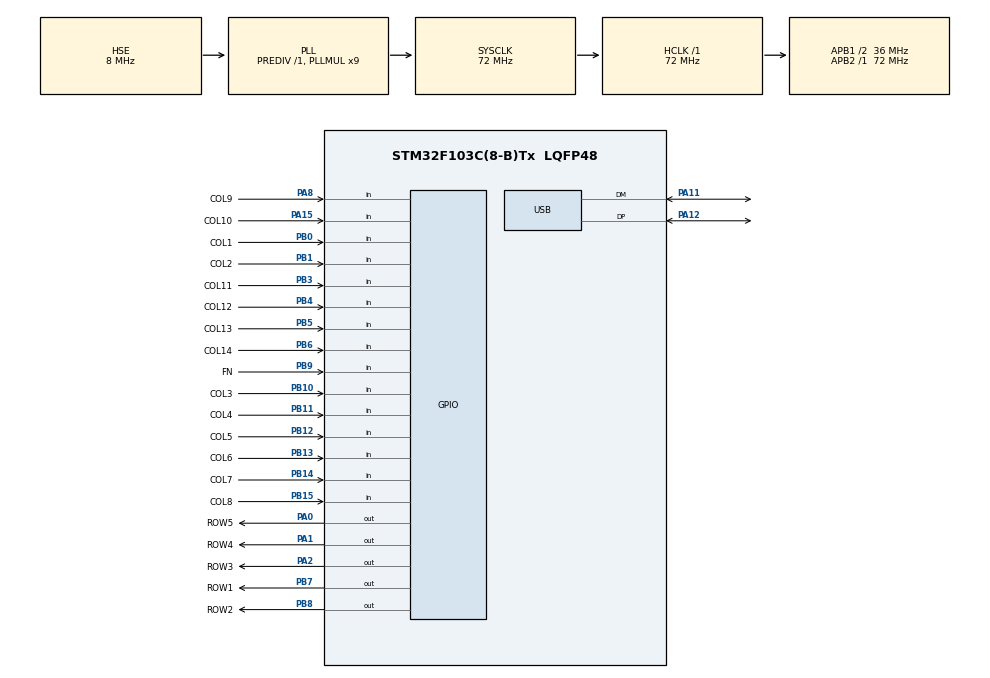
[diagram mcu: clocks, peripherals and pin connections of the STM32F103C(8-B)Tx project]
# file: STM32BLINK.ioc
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Mcu.Family=STM32F1
Mcu.Name=STM32F103C(8-B)Tx
Mcu.Package=LQFP48
NVIC.PriorityGroup=NVIC_PRIORITYGROUP_4
NVIC.USB_LP_CAN1_RX0_IRQn=true\:0\:0\:false\:false\:true\:false\:true\:true
PA0-WKUP.GPIO_Label=ROW5
PA0-WKUP.GPIO_Speed=GPIO_SPEED_FREQ_HIGH
PA0-WKUP.Signal=GPIO_Output
PA1.GPIO_Label=ROW4
PA1.GPIO_Speed=GPIO_SPEED_FREQ_HIGH
PA1.Signal=GPIO_Output
PA11.Mode=Device
PA11.Signal=USB_DM
PA12.Mode=Device
PA12.Signal=USB_DP
PA13.Mode=Serial_Wire
PA13.Signal=SYS_JTMS-SWDIO
PA14.Mode=Serial_Wire
PA14.Signal=SYS_JTCK-SWCLK
PA15.GPIO_Label=COL10
PA15.GPIO_PuPd=GPIO_PULLDOWN
PA15.Signal=GPIO_Input
PA2.GPIO_Label=ROW3
PA2.GPIO_Speed=GPIO_SPEED_FREQ_HIGH
PA2.Signal=GPIO_Output
PA8.GPIO_Label=COL9
PA8.GPIO_PuPd=GPIO_PULLDOWN
PA8.Signal=GPIO_Input
PB0.GPIO_Label=COL1
PB0.GPIO_PuPd=GPIO_PULLDOWN
PB0.Signal=GPIO_Input
PB1.GPIO_Label=COL2
PB1.GPIO_PuPd=GPIO_PULLDOWN
PB1.Signal=GPIO_Input
PB10.GPIO_Label=COL3
PB10.GPIO_PuPd=GPIO_PULLDOWN
PB10.Signal=GPIO_Input
PB11.GPIO_Label=COL4
PB11.GPIO_PuPd=GPIO_PULLDOWN
PB11.Signal=GPIO_Input
PB12.GPIO_Label=COL5
PB12.GPIO_PuPd=GPIO_PULLDOWN
PB12.Signal=GPIO_Input
PB13.GPIO_Label=COL6
PB13.GPIO_PuPd=GPIO_PULLDOWN
PB13.Signal=GPIO_Input
PB14.GPIO_Label=COL7
PB14.GPIO_PuPd=GPIO_PULLDOWN
PB14.Signal=GPIO_Input
PB15.GPIO_Label=COL8
PB15.GPIO_PuPd=GPIO_PULLDOWN
PB15.Signal=GPIO_Input
PB3.GPIO_Label=COL11
PB3.GPIO_PuPd=GPIO_PULLDOWN
PB3.Signal=GPIO_Input
PB4.GPIO_Label=COL12
PB4.GPIO_PuPd=GPIO_PULLDOWN
PB4.Signal=GPIO_Input
PB5.GPIO_Label=COL13
PB5.GPIO_PuPd=GPIO_PULLDOWN
PB5.Signal=GPIO_Input
PB6.GPIO_Label=COL14
PB6.GPIO_PuPd=GPIO_PULLDOWN
PB6.Signal=GPIO_Input
PB7.GPIO_Label=ROW1
PB7.GPIO_Speed=GPIO_SPEED_FREQ_HIGH
PB7.Signal=GPIO_Output
PB8.GPIO_Label=ROW2
PB8.GPIO_Speed=GPIO_SPEED_FREQ_HIGH
PB8.Signal=GPIO_Output
PB9.GPIO_Label=FN
PB9.GPIO_PuPd=GPIO_PULLUP
PB9.Signal=GPIO_Input
PD0-OSC_IN.Mode=HSE-External-Oscillator
PD0-OSC_IN.Signal=RCC_OSC_IN
PD1-OSC_OUT.Mode=HSE-External-Oscillator
PD1-OSC_OUT.Signal=RCC_OSC_OUT
ProjectManager.HeapSize=0x200
ProjectManager.StackSize=0x400
ProjectManager.TargetToolchain=Makefile
RCC.AHBFreq_Value=72000000
RCC.APB1CLKDivider=RCC_HCLK_DIV2
RCC.APB1Freq_Value=36000000
RCC.APB1TimFreq_Value=72000000
RCC.APB2Freq_Value=72000000
RCC.APB2TimFreq_Value=72000000
RCC.HCLKFreq_Value=72000000
RCC.PLLMUL=RCC_PLL_MUL9
RCC.PLLSourceVirtual=RCC_PLLSOURCE_HSE
RCC.SYSCLKFreq_VALUE=72000000
RCC.SYSCLKSource=RCC_SYSCLKSOURCE_PLLCLK
RCC.USBFreq_Value=48000000
RCC.USBPrescaler=RCC_USBCLKSOURCE_PLL_DIV1_5
USB_DEVICE.CLASS_NAME_FS=HID
USB_DEVICE.VirtualMode=Hid
USB_DEVICE.VirtualModeFS=Hid_FS
VP_USB_DEVICE_VS_USB_DEVICE_HID_FS.Mode=HID_FS
board=custom

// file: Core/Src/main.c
/* USER CODE BEGIN Header */
/**
 ******************************************************************************
 * @file           : main.c
 * @brief          : Main program body
 ******************************************************************************
 * @attention
 *
 * Copyright (c) 2024 STMicroelectronics.
 * All rights reserved.
 *
 * This software is licensed under terms that can be found in the LICENSE file
 * in the root directory of this software component.
 * If no LICENSE file comes with this software, it is provided AS-IS.
 *
 ******************************************************************************
 */
/* USER CODE END Header */
#include "main.h"
#include "usb_device.h"
#include "gpio.h"

/* USER CODE BEGIN Includes */
#include "usbd_hid.h"
#include "usb_key_define.h"
#include "key.h"

/* USER CODE END Includes */

/* USER CODE BEGIN PD */
#define key_number ROW_NUM *COL_NUM
/* USER CODE END PD */

void SystemClock_Config(void);

/* USER CODE BEGIN 0 */
extern USBD_HandleTypeDef hUsbDeviceFS;

typedef struct
{
  uint8_t MODIFIER;
  uint8_t RESERVED;
  uint8_t KEYCODE1;
  uint8_t KEYCODE2;
  uint8_t KEYCODE3;
  uint8_t KEYCODE4;
  uint8_t KEYCODE5;
  uint8_t KEYCODE6;
} keyboardHID_t;

keyboardHID_t keyboardHID = {0, 0, 0, 0, 0, 0, 0, 0};
KEY_typedef key[key_number];
FN_KEY_typedef fn_key;

uint8_t modify_bit = 0x00;

KEY_MAP key_map_1[key_number] =
    {
        {key_grave},
        {key_1},
        {key_2},
        {key_3},
        {key_4},
        {key_5},
        {key_6},
        {key_7},
        {key_8},
        {key_9},
        {key_0},
        {key_minus},
        {key_equal},
        {key_backspace},
        {key_tab},
        {key_q},
        {key_w},
        {key_e},
        {key_r},
        {key_t},
        {key_y},
        {key_u},
        {key_i},
        {key_o},
        {key_p},
        {key_left_bracket},
        {key_right_bracket},
        {key_backslash},
        {key_caps_lock},
        {key_a},
        {key_s},
        {key_d},
        {key_f},
        {key_g},
        {key_h},
        {key_j},
        {key_k},
        {key_l},
        {key_semicolon},
        {key_quote},
        {key_return},
        {None_key},
        {LEFT_SHIFT_KEY},
        {key_z},
        {key_x},
        {key_c},
        {key_v},
        {key_b},
        {key_n},
        {key_m},
        {key_comma},
        {key_dot},
        {key_slash},
        {RIGHT_SHIFT_KEY},
        {None_key},
        {None_key},
        {LEFT_CTRL_KEY},
        {LEFT_ALT_KEY},
        {key_space},
        {GUI_KEY},
        {None_key},
        {None_key},
        {None_key},
        {None_key},
        {None_key},
        {None_key},
        {None_key},
        {None_key},
        {None_key},
        {None_key},

};
KEY_MAP key_map_2[key_number] =
    {
        {key_esc},
        {key_f1},
        {key_f2},
        {key_f3},
        {key_f4},
        {key_f5},
        {key_f6},
        {key_f7},
        {key_f8},
        {key_f9},
        {key_f10},
        {key_f11},
        {key_f12},
        {keypad_Delete},
        {key_tab},
        {key_q},
        {key_up_arrow},
        {key_e},
        {key_r},
        {key_t},
        {key_y},
        {key_u},
        {key_i},
        {key_o},
        {key_p},
        {key_left_bracket},
        {key_right_bracket},
        {key_backslash},
        {key_caps_lock},
        {key_left_arrow},
        {key_down_arrow},
        {key_right_arrow},
        {key_f},
        {key_g},
        {key_h},
        {key_j},
        {key_k},
        {key_l},
        {key_semicolon},
        {key_quote},
        {key_return},
        {None_key},
        {LEFT_SHIFT_KEY},
        {key_z},
        {key_x},
        {key_c},
        {key_v},
        {key_b},
        {key_n},
        {key_m},
        {key_comma},
        {key_dot},
        {key_slash},
        {RIGHT_SHIFT_KEY},
        {None_key},
        {None_key},
        {LEFT_CTRL_KEY},
        {LEFT_ALT_KEY},
        {key_space},
        {GUI_KEY},
        {None_key},
        {None_key},
        {None_key},
        {None_key},
        {None_key},
        {None_key},
        {None_key},
        {None_key},
        {None_key},
        {None_key},

};

void key_handler(int i)
{
  key[i].buffer_index = find_buff_emtpy_index(&keyboardHID, 8);
  if (i == 42 || i == 53)
  {
    // modify_bit = 0x02;
    keyboardHID.MODIFIER |= 0x02;
  }
  else if(i == 56 )
  {
    // modify_bit = 0x01;
    keyboardHID.MODIFIER |= 0x01;
  }
  else if(i == 57)
  {
    // modify_bit = 0x04;alt
    keyboardHID.MODIFIER |= 0x04;
  }
  else if(i == 59)
  {
    // gui
    keyboardHID.MODIFIER |= 0x08;
  }
  else
  {
    if (fn_key.layer == 0)
    {
      if (key[i].buffer_index != -1)
      {
        key_buffer_insert(key[i].buffer_index, i, key_map_1, &keyboardHID);
      }
    }
    else if (fn_key.layer == 1 )
    {

      if (key[i].buffer_index != -1)
      {
        key_buffer_insert(key[i].buffer_index, i, key_map_2, &keyboardHID);
      }
    }
  }
}

void key_handler_release(int i)
{
  if (i == 42 || i == 53)
  {
    // modify_bit = 0x02;shift
    keyboardHID.MODIFIER &= 0xFD;
  }
  else if(i == 56 )
  {
    // modify_bit = 0x01;ctrl
    keyboardHID.MODIFIER &= 0xFE;

  }
  else if(i == 57)
  {
    // modify_bit = 0x04;alt
    keyboardHID.MODIFIER &= 0xFB;
  }
  else if(i == 59)
  {
    // gui
    keyboardHID.MODIFIER &= 0xF7;
  }
  else
  {
  remove_buff(key[i].buffer_index, &keyboardHID);
  key[i].buffer_index = -1;
  }
}

void fn_key_handler()
{
  fn_key.layer = 1;
}
void fn_key_handler_release()
{
  fn_key.layer = 0;
  for(int i = 0; i < 8; i++)
  {
    remove_buff(i, &keyboardHID);
  }
}

/* USER CODE END 0 */

int main(void)
{

  /* MCU Configuration--------------------------------------------------------*/

  /* Reset of all peripherals, Initializes the Flash interface and the Systick. */
  HAL_Init();

  /* Configure the system clock */
  SystemClock_Config();

  /* Initialize all configured peripherals */
  MX_GPIO_Init();
  MX_USB_DEVICE_Init();
  /* USER CODE BEGIN 2 */
  KEY_INIT(key_number, key, key_map_1);
  FN_KEY_INIT(&fn_key);
  /* USER CODE END 2 */

  /* Infinite loop */
  while (1)
  {

    /* USER CODE BEGIN 3 */
    USBD_HID_SendReport(&hUsbDeviceFS, (uint8_t *)&keyboardHID, sizeof(keyboardHID));
    FN_KEY_SCAN(&fn_key);
    FN_KEY_PROCESS(&fn_key);
    key_scan(&key);
    // HAL_Delay(10);
  }
  /* USER CODE END 3 */
}

void SystemClock_Config(void)
{
  RCC_OscInitTypeDef RCC_OscInitStruct = {0};
  RCC_ClkInitTypeDef RCC_ClkInitStruct = {0};
  RCC_PeriphCLKInitTypeDef PeriphClkInit = {0};

  /** Initializes the RCC Oscillators according to the specified parameters
   * in the RCC_OscInitTypeDef structure.
   */
  RCC_OscInitStruct.OscillatorType = RCC_OSCILLATORTYPE_HSE;
  RCC_OscInitStruct.HSEState = RCC_HSE_ON;
  RCC_OscInitStruct.HSEPredivValue = RCC_HSE_PREDIV_DIV1;
  RCC_OscInitStruct.HSIState = RCC_HSI_ON;
  RCC_OscInitStruct.PLL.PLLState = RCC_PLL_ON;
  RCC_OscInitStruct.PLL.PLLSource = RCC_PLLSOURCE_HSE;
  RCC_OscInitStruct.PLL.PLLMUL = RCC_PLL_MUL9;
  if (HAL_RCC_OscConfig(&RCC_OscInitStruct) != HAL_OK)
  {
    Error_Handler();
  }

  /** Initializes the CPU, AHB and APB buses clocks
   */
  RCC_ClkInitStruct.ClockType = RCC_CLOCKTYPE_HCLK | RCC_CLOCKTYPE_SYSCLK | RCC_CLOCKTYPE_PCLK1 | RCC_CLOCKTYPE_PCLK2;
  RCC_ClkInitStruct.SYSCLKSource = RCC_SYSCLKSOURCE_PLLCLK;
  RCC_ClkInitStruct.AHBCLKDivider = RCC_SYSCLK_DIV1;
  RCC_ClkInitStruct.APB1CLKDivider = RCC_HCLK_DIV2;
  RCC_ClkInitStruct.APB2CLKDivider = RCC_HCLK_DIV1;

  if (HAL_RCC_ClockConfig(&RCC_ClkInitStruct, FLASH_LATENCY_2) != HAL_OK)
  {
    Error_Handler();
  }
  PeriphClkInit.PeriphClockSelection = RCC_PERIPHCLK_USB;
  PeriphClkInit.UsbClockSelection = RCC_USBCLKSOURCE_PLL_DIV1_5;
  if (HAL_RCCEx_PeriphCLKConfig(&PeriphClkInit) != HAL_OK)
  {
    Error_Handler();
  }
}

void Error_Handler(void)
{
  __disable_irq();
  while (1)
  {
  }
}
